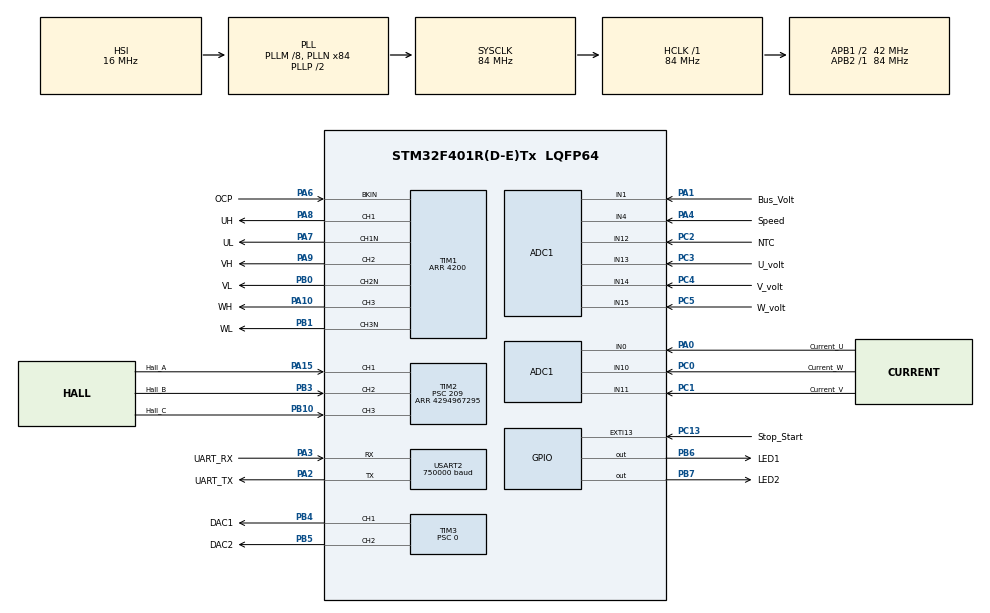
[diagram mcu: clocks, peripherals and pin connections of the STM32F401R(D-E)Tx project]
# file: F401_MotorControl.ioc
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ADC1.Channel-0\#ChannelRegularConversion=ADC_CHANNEL_1
ADC1.Channel-1\#ChannelInjectedConversion=ADC_CHANNEL_0
ADC1.Channel-2\#ChannelInjectedConversion=ADC_CHANNEL_11
ADC1.Channel-3\#ChannelInjectedConversion=ADC_CHANNEL_10
ADC1.Channel-4\#ChannelRegularConversion=ADC_CHANNEL_4
ADC1.Channel-5\#ChannelRegularConversion=ADC_CHANNEL_12
ADC1.Channel-6\#ChannelRegularConversion=ADC_CHANNEL_13
ADC1.Channel-7\#ChannelRegularConversion=ADC_CHANNEL_14
ADC1.Channel-8\#ChannelRegularConversion=ADC_CHANNEL_15
ADC1.ContinuousConvMode=DISABLE
ADC1.DMAContinuousRequests=ENABLE
ADC1.DataAlign=ADC_DATAALIGN_RIGHT
ADC1.DiscontinuousConvMode=DISABLE
ADC1.EOCSelection=ADC_EOC_SEQ_CONV
ADC1.ExternalTrigConv=ADC_EXTERNALTRIGCONV_T4_CC4
ADC1.ExternalTrigInjecConv=ADC_INJECTED_SOFTWARE_START
ADC1.InjNumberOfConversion=3
ADC1.InjectedConvMode=AutoInjected
ADC1.InjectedOffset-1\#ChannelInjectedConversion=0
ADC1.InjectedOffset-2\#ChannelInjectedConversion=0
ADC1.InjectedOffset-3\#ChannelInjectedConversion=0
ADC1.InjectedRank-1\#ChannelInjectedConversion=1
ADC1.InjectedRank-2\#ChannelInjectedConversion=2
ADC1.InjectedRank-3\#ChannelInjectedConversion=3
ADC1.NbrOfConversion=6
ADC1.NbrOfConversionFlag=1
ADC1.Rank-0\#ChannelRegularConversion=1
ADC1.Rank-4\#ChannelRegularConversion=2
ADC1.Rank-5\#ChannelRegularConversion=3
ADC1.Rank-6\#ChannelRegularConversion=4
ADC1.Rank-7\#ChannelRegularConversion=5
ADC1.Rank-8\#ChannelRegularConversion=6
ADC1.SamplingTime-0\#ChannelRegularConversion=ADC_SAMPLETIME_3CYCLES
ADC1.SamplingTime-1\#ChannelInjectedConversion=ADC_SAMPLETIME_3CYCLES
ADC1.SamplingTime-2\#ChannelInjectedConversion=ADC_SAMPLETIME_3CYCLES
ADC1.SamplingTime-3\#ChannelInjectedConversion=ADC_SAMPLETIME_3CYCLES
ADC1.SamplingTime-4\#ChannelRegularConversion=ADC_SAMPLETIME_3CYCLES
ADC1.SamplingTime-5\#ChannelRegularConversion=ADC_SAMPLETIME_3CYCLES
ADC1.SamplingTime-6\#ChannelRegularConversion=ADC_SAMPLETIME_3CYCLES
ADC1.SamplingTime-7\#ChannelRegularConversion=ADC_SAMPLETIME_3CYCLES
ADC1.SamplingTime-8\#ChannelRegularConversion=ADC_SAMPLETIME_3CYCLES
ADC1.ScanConvMode=ENABLE
ADC1.master=1
Dma.ADC1.0.Direction=DMA_PERIPH_TO_MEMORY
Dma.ADC1.0.FIFOMode=DMA_FIFOMODE_DISABLE
Dma.ADC1.0.Instance=DMA2_Stream0
Dma.ADC1.0.MemDataAlignment=DMA_MDATAALIGN_WORD
Dma.ADC1.0.MemInc=DMA_MINC_ENABLE
Dma.ADC1.0.Mode=DMA_CIRCULAR
Dma.ADC1.0.PeriphDataAlignment=DMA_PDATAALIGN_WORD
Dma.ADC1.0.PeriphInc=DMA_PINC_DISABLE
Dma.ADC1.0.Priority=DMA_PRIORITY_LOW
Dma.Request0=ADC1
Dma.Request1=USART2_TX
Dma.Request2=USART2_RX
Dma.USART2_RX.2.Direction=DMA_PERIPH_TO_MEMORY
Dma.USART2_RX.2.FIFOMode=DMA_FIFOMODE_DISABLE
Dma.USART2_RX.2.Instance=DMA1_Stream5
Dma.USART2_RX.2.MemDataAlignment=DMA_MDATAALIGN_BYTE
Dma.USART2_RX.2.MemInc=DMA_MINC_ENABLE
Dma.USART2_RX.2.Mode=DMA_NORMAL
Dma.USART2_RX.2.PeriphDataAlignment=DMA_PDATAALIGN_BYTE
Dma.USART2_RX.2.PeriphInc=DMA_PINC_DISABLE
Dma.USART2_RX.2.Priority=DMA_PRIORITY_LOW
Dma.USART2_TX.1.Direction=DMA_MEMORY_TO_PERIPH
Dma.USART2_TX.1.FIFOMode=DMA_FIFOMODE_DISABLE
Dma.USART2_TX.1.Instance=DMA1_Stream6
Dma.USART2_TX.1.MemDataAlignment=DMA_MDATAALIGN_BYTE
Dma.USART2_TX.1.MemInc=DMA_MINC_ENABLE
Dma.USART2_TX.1.Mode=DMA_NORMAL
Dma.USART2_TX.1.PeriphDataAlignment=DMA_PDATAALIGN_BYTE
Dma.USART2_TX.1.PeriphInc=DMA_PINC_DISABLE
Dma.USART2_TX.1.Priority=DMA_PRIORITY_LOW
Mcu.Family=STM32F4
Mcu.Name=STM32F401R(D-E)Tx
Mcu.Package=LQFP64
NVIC.ADC_IRQn=true\:2\:0\:true\:false\:true\:true\:true
NVIC.DMA1_Stream5_IRQn=true\:0\:0\:false\:false\:true\:false\:true
NVIC.DMA1_Stream6_IRQn=true\:5\:0\:true\:false\:true\:false\:true
NVIC.DMA2_Stream0_IRQn=true\:0\:0\:false\:false\:true\:false\:true
NVIC.EXTI15_10_IRQn=true\:3\:0\:true\:false\:true\:true\:true
NVIC.PriorityGroup=NVIC_PRIORITYGROUP_3
NVIC.TIM1_BRK_TIM9_IRQn=true\:0\:1\:true\:false\:true\:true\:true
NVIC.TIM1_UP_TIM10_IRQn=true\:0\:0\:false\:false\:true\:true\:true
NVIC.TIM2_IRQn=true\:3\:0\:true\:false\:true\:true\:true
NVIC.TIM3_IRQn=true\:5\:0\:true\:false\:true\:true\:true
NVIC.TIM5_IRQn=true\:7\:0\:true\:false\:true\:true\:true
NVIC.USART2_IRQn=true\:6\:1\:true\:false\:true\:true\:true
PA0-WKUP.GPIO_Label=Current_U
PA0-WKUP.Signal=ADCx_IN0
PA1.GPIO_Label=Bus_Volt
PA1.Signal=ADCx_IN1
PA10.GPIO_Label=WH
PA10.GPIO_ModeDefaultPP=GPIO_MODE_AF_PP
PA10.GPIO_PuPd=GPIO_PULLDOWN
PA10.GPIO_Speed=GPIO_SPEED_FREQ_HIGH
PA10.Signal=S_TIM1_CH3
PA15.GPIO_Label=Hall_A
PA15.Signal=S_TIM2_CH1_ETR
PA2.GPIO_Label=UART_TX
PA2.Mode=Asynchronous
PA2.Signal=USART2_TX
PA3.GPIO_Label=UART_RX
PA3.Mode=Asynchronous
PA3.Signal=USART2_RX
PA4.GPIO_Label=Speed
PA4.Signal=ADCx_IN4
PA6.GPIO_Label=OCP
PA6.GPIO_Mode=GPIO_MODE_AF_PP
PA6.GPIO_PuPd=GPIO_PULLUP
PA6.Mode=Activate-Break-Input
PA6.Signal=TIM1_BKIN
PA7.GPIO_Label=UL
PA7.GPIO_ModeDefaultPP=GPIO_MODE_AF_PP
PA7.GPIO_PuPd=GPIO_PULLDOWN
PA7.GPIO_Speed=GPIO_SPEED_FREQ_HIGH
PA7.Mode=PWM Generation1 CH1 CH1N
PA7.Signal=TIM1_CH1N
PA8.GPIO_Label=UH
PA8.GPIO_ModeDefaultPP=GPIO_MODE_AF_PP
PA8.GPIO_PuPd=GPIO_PULLDOWN
PA8.GPIO_Speed=GPIO_SPEED_FREQ_HIGH
PA8.Signal=S_TIM1_CH1
PA9.GPIO_Label=VH
PA9.GPIO_ModeDefaultPP=GPIO_MODE_AF_PP
PA9.GPIO_PuPd=GPIO_PULLDOWN
PA9.GPIO_Speed=GPIO_SPEED_FREQ_HIGH
PA9.Signal=S_TIM1_CH2
PB0.GPIO_Label=VL
PB0.GPIO_ModeDefaultPP=GPIO_MODE_AF_PP
PB0.GPIO_PuPd=GPIO_PULLDOWN
PB0.GPIO_Speed=GPIO_SPEED_FREQ_HIGH
PB0.Mode=PWM Generation2 CH2 CH2N
PB0.Signal=TIM1_CH2N
PB1.GPIO_Label=WL
PB1.GPIO_ModeDefaultPP=GPIO_MODE_AF_PP
PB1.GPIO_PuPd=GPIO_PULLDOWN
PB1.GPIO_Speed=GPIO_SPEED_FREQ_HIGH
PB1.Mode=PWM Generation3 CH3 CH3N
PB1.Signal=TIM1_CH3N
PB10.GPIO_Label=Hall_C
PB10.Signal=S_TIM2_CH3
PB3.GPIO_Label=Hall_B
PB3.Signal=S_TIM2_CH2
PB4.GPIO_Label=DAC1
PB4.Signal=S_TIM3_CH1
PB5.GPIO_Label=DAC2
PB5.Signal=S_TIM3_CH2
PB6.GPIO_Label=LED1
PB6.PinState=GPIO_PIN_SET
PB6.Signal=GPIO_Output
PB7.GPIO_Label=LED2
PB7.PinState=GPIO_PIN_SET
PB7.Signal=GPIO_Output
PC0.GPIO_Label=Current_W
PC0.Signal=ADCx_IN10
PC1.GPIO_Label=Current_V
PC1.Signal=ADCx_IN11
PC13-ANTI_TAMP.GPIO_Label=Stop_Start
PC13-ANTI_TAMP.GPIO_ModeDefaultEXTI=GPIO_MODE_IT_FALLING
PC13-ANTI_TAMP.Signal=GPXTI13
PC2.GPIO_Label=NTC
PC2.Signal=ADCx_IN12
PC3.GPIO_Label=U_volt
PC3.Signal=ADCx_IN13
PC4.GPIO_Label=V_volt
PC4.Signal=ADCx_IN14
PC5.GPIO_Label=W_volt
PC5.Signal=ADCx_IN15
PH0\ -\ OSC_IN.Mode=HSE-External-Oscillator
PH0\ -\ OSC_IN.Signal=RCC_OSC_IN
PH1\ -\ OSC_OUT.Mode=HSE-External-Oscillator
PH1\ -\ OSC_OUT.Signal=RCC_OSC_OUT
ProjectManager.HeapSize=0x200
ProjectManager.StackSize=0x400
ProjectManager.TargetToolchain=MDK-ARM V5
RCC.48MHZClocksFreq_Value=42000000
RCC.AHBFreq_Value=84000000
RCC.APB1CLKDivider=RCC_HCLK_DIV2
RCC.APB1Freq_Value=42000000
RCC.APB1TimFreq_Value=84000000
RCC.APB2Freq_Value=84000000
RCC.APB2TimFreq_Value=84000000
RCC.CortexFreq_Value=84000000
RCC.HCLKFreq_Value=84000000
RCC.HSE_VALUE=8000000
RCC.HSI_VALUE=16000000
RCC.LSE_VALUE=32768
RCC.PLLM=8
RCC.PLLN=84
RCC.SYSCLKFreq_VALUE=84000000
RCC.SYSCLKSource=RCC_SYSCLKSOURCE_PLLCLK
RCC.VCOOutputFreq_Value=168000000
SH.ADCx_IN0.0=ADC1_IN0,IN0
SH.ADCx_IN1.0=ADC1_IN1,IN1
SH.ADCx_IN10.0=ADC1_IN10,IN10
SH.ADCx_IN11.0=ADC1_IN11,IN11
SH.ADCx_IN12.0=ADC1_IN12,IN12
SH.ADCx_IN13.0=ADC1_IN13,IN13
SH.ADCx_IN14.0=ADC1_IN14,IN14
SH.ADCx_IN15.0=ADC1_IN15,IN15
SH.ADCx_IN4.0=ADC1_IN4,IN4
SH.S_TIM1_CH1.0=TIM1_CH1,PWM Generation1 CH1 CH1N
SH.S_TIM1_CH2.0=TIM1_CH2,PWM Generation2 CH2 CH2N
SH.S_TIM1_CH3.0=TIM1_CH3,PWM Generation3 CH3 CH3N
SH.S_TIM2_CH1_ETR.0=TIM2_CH1,Xored_Inputs_Hall_Sensor_Interface
SH.S_TIM2_CH2.0=TIM2_CH2,Xored_Inputs_Hall_Sensor_Interface
SH.S_TIM2_CH3.0=TIM2_CH3,Xored_Inputs_Hall_Sensor_Interface
SH.S_TIM3_CH1.0=TIM3_CH1,PWM Generation1 CH1
SH.S_TIM3_CH2.0=TIM3_CH2,PWM Generation2 CH2
TIM1.AutoReloadPreload=TIM_AUTORELOAD_PRELOAD_DISABLE
TIM1.BreakPolarity=TIM_BREAKPOLARITY_LOW
TIM1.BreakState=TIM_BREAK_ENABLE
TIM1.Channel-PWM\ Generation1\ CH1\ CH1N=TIM_CHANNEL_1
TIM1.Channel-PWM\ Generation2\ CH2\ CH2N=TIM_CHANNEL_2
TIM1.Channel-PWM\ Generation3\ CH3\ CH3N=TIM_CHANNEL_3
TIM1.Channel-PWM\ Generation4\ No\ Output=TIM_CHANNEL_4
TIM1.ClockDivision=TIM_CLOCKDIVISION_DIV1
TIM1.CounterMode=TIM_COUNTERMODE_CENTERALIGNED1
TIM1.DeadTime=34
TIM1.LockLevel=TIM_LOCKLEVEL_1
TIM1.OCMode_PWM-PWM\ Generation4\ No\ Output=TIM_OCMODE_PWM2
TIM1.OffStateIDLEMode=TIM_OSSI_ENABLE
TIM1.OffStateRunMode=TIM_OSSR_ENABLE
TIM1.Period=4200
TIM1.Pulse-PWM\ Generation4\ No\ Output=4200-1
TIM1.RepetitionCounter=1
TIM1.TIM_MasterOutputTrigger=TIM_TRGO_OC4REF
TIM1.TIM_MasterSlaveMode=TIM_MASTERSLAVEMODE_ENABLE
TIM2.AutoReloadPreload=TIM_AUTORELOAD_PRELOAD_DISABLE
TIM2.ClockDivision=TIM_CLOCKDIVISION_DIV4
TIM2.CounterMode=TIM_COUNTERMODE_UP
TIM2.Period=4294967295
TIM2.Prescaler=209
TIM2.TIM_MasterOutputTrigger=TIM_TRGO_OC2REF
TIM3.Channel-PWM\ Generation1\ CH1=TIM_CHANNEL_1
TIM3.Channel-PWM\ Generation2\ CH2=TIM_CHANNEL_2
TIM3.CounterMode=TIM_COUNTERMODE_CENTERALIGNED1
TIM3.Period=2100
TIM3.Prescaler=0
TIM3.Pulse-PWM\ Generation1\ CH1=0x200
TIM3.Pulse-PWM\ Generation2\ CH2=0x200
TIM3.TIM_MasterSlaveMode=TIM_MASTERSLAVEMODE_DISABLE
TIM4.Channel-PWM\ Generation4\ No\ Output=TIM_CHANNEL_4
TIM4.CounterMode=TIM_COUNTERMODE_CENTERALIGNED1
TIM4.OCMode_PWM-PWM\ Generation4\ No\ Output=TIM_OCMODE_PWM2
TIM4.Period=4200
TIM4.Pulse-PWM\ Generation4\ No\ Output=1
TIM4.TIM_MasterOutputTrigger=TIM_TRGO_OC4REF
TIM4.TIM_MasterSlaveMode=TIM_MASTERSLAVEMODE_ENABLE
TIM5.Channel-Output\ Compare1\ No\ Output=TIM_CHANNEL_1
TIM5.ClockDivision=TIM_CLOCKDIVISION_DIV4
TIM5.OC1Preload=ENABLE
TIM5.Period=4294967295
TIM5.Prescaler=209
TIM5.Pulse-Output\ Compare1\ No\ Output=0
USART2.BaudRate=750000
USART2.VirtualMode=VM_ASYNC
VP_CRC_VS_CRC.Mode=CRC_Activate
VP_TIM1_VS_ClockSourceINT.Mode=Internal
VP_TIM1_VS_ClockSourceITR.Mode=TriggerSource_ITR0
VP_TIM1_VS_ControllerModeTrigger.Mode=Trigger Mode
VP_TIM1_VS_no_output4.Mode=PWM Generation4 No Output
VP_TIM2_VS_ClockSourceINT.Mode=Internal
VP_TIM3_VS_ClockSourceINT.Mode=Internal
VP_TIM4_VS_ClockSourceINT.Mode=Internal
VP_TIM4_VS_ClockSourceITR.Mode=TriggerSource_ITR0
VP_TIM4_VS_ControllerModeReset.Mode=Reset Mode
VP_TIM4_VS_no_output4.Mode=PWM Generation4 No Output
VP_TIM5_VS_ClockSourceINT.Mode=Internal
VP_TIM5_VS_no_output1.Mode=Output Compare1 No Output
board=custom

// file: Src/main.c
/* USER CODE BEGIN Header */
/**
  ******************************************************************************
  * @file           : main.c
  * @brief          : Main program body
  ******************************************************************************
  * @attention
  *
  * <h2><center>&copy; Copyright (c) 2021 STMicroelectronics.
  * All rights reserved.</center></h2>
  *
  * This software component is licensed by ST under BSD 3-Clause license,
  * the "License"; You may not use this file except in compliance with the
  * License. You may obtain a copy of the License at:
  *                        opensource.org/licenses/BSD-3-Clause
  *
  ******************************************************************************
  */
/* USER CODE END Header */
#include "main.h"

ADC_HandleTypeDef hadc1;
DMA_HandleTypeDef hdma_adc1;

CRC_HandleTypeDef hcrc;

TIM_HandleTypeDef htim1;
TIM_HandleTypeDef htim2;
TIM_HandleTypeDef htim3;
TIM_HandleTypeDef htim4;
TIM_HandleTypeDef htim5;

UART_HandleTypeDef huart2;
DMA_HandleTypeDef hdma_usart2_tx;
DMA_HandleTypeDef hdma_usart2_rx;

/* USER CODE BEGIN PV */
uint8_t aRxBuffer[100];
/* USER CODE END PV */

void SystemClock_Config(void);
static void MX_GPIO_Init(void);
static void MX_DMA_Init(void);
static void MX_ADC1_Init(void);
static void MX_USART2_UART_Init(void);
static void MX_TIM1_Init(void);
static void MX_TIM3_Init(void);
static void MX_TIM2_Init(void);
static void MX_TIM4_Init(void);
static void MX_TIM5_Init(void);
static void MX_CRC_Init(void);

/* USER CODE BEGIN 0 */
#include <stddef.h>
#include <stdio.h>              /* This ert_main.c example uses printf/fflush */
#include "Motor_Control.h"             /* Model's header file */
#include "rtwtypes.h"

/* Flags for taskOverrun */
//static boolean_T OverrunFlags[1] = { false, };

/* Number of auto reload timer rotation computed */
static volatile uint32_t autoReloadTimerLoopVal_S = 1;

/* Remaining number of auto reload timer rotation to do */
volatile uint32_t remainAutoReloadTimerLoopVal_S = 1;

uint32_t ADC_Value[6];
int16_t Task_10ms;
int16_t Task_100ms;
int16_t Task_2ms;
float Bus_volt_V,Ia_A,Ib_A,Ic_A;
float Tempreture,U_voltage,V_voltage,W_voltage,Speed_In;
float Debug_SetSpeed;
uint8_t EnDisable_flag;
/* USER CODE END 0 */

int main(void)
{

  /* MCU Configuration--------------------------------------------------------*/

  /* Reset of all peripherals, Initializes the Flash interface and the Systick. */
  HAL_Init();

  /* Configure the system clock */
  SystemClock_Config();

  /* Initialize all configured peripherals */
  MX_GPIO_Init();
  MX_DMA_Init();
  MX_ADC1_Init();
  MX_USART2_UART_Init();
  MX_TIM1_Init();
  MX_TIM3_Init();
  MX_TIM2_Init();
  MX_TIM4_Init();
  MX_TIM5_Init();
  MX_CRC_Init();
  /* USER CODE BEGIN 2 */
	//ADC
	//HAL_ADC_Start_IT(&hadc1);
	HAL_ADC_Start_DMA(&hadc1, (uint32_t*)&ADC_Value, 6);

   /* Start interrupt conversion for ADC1 injected channel. */
	 HAL_ADCEx_InjectedStart(&hadc1);
   HAL_ADCEx_InjectedStart_IT(&hadc1);

	 //Time1 PWM
 /* Wait for htim1 State READY. */
      while ((&htim1)->State == HAL_TIM_STATE_BUSY) {
      }

      HAL_TIM_PWM_Start(&htim1,TIM_CHANNEL_1);

      /* Enable the complementary PWM output 1. */
      HAL_TIMEx_PWMN_Start(&htim1,TIM_CHANNEL_1);

      /* Wait for htim1 State READY. */
      while ((&htim1)->State == HAL_TIM_STATE_BUSY) {
      }

      HAL_TIM_PWM_Start(&htim1,TIM_CHANNEL_2);

      /* Enable the complementary PWM output 2. */
      HAL_TIMEx_PWMN_Start(&htim1,TIM_CHANNEL_2);

      /* Wait for htim1 State READY. */
      while ((&htim1)->State == HAL_TIM_STATE_BUSY) {
      }

      HAL_TIM_PWM_Start(&htim1,TIM_CHANNEL_3);

      /* Enable the complementary PWM output 3. */
      HAL_TIMEx_PWMN_Start(&htim1,TIM_CHANNEL_3);

      /* Start interrupt for Update event*/
      HAL_TIM_Base_Start_IT(&htim1);
      /* Start interrupt for Update event*/
			 __HAL_TIM_ENABLE(&htim1);
     // HAL_TIM_Base_Start_IT(&htim1);

			//Tmie2
			 HAL_TIMEx_PWMN_Start(&htim2,TIM_CHANNEL_1);
				 __HAL_TIM_ENABLE(&htim2);
			 HAL_TIMEx_HallSensor_Start_IT(&htim2);
			HAL_TIMEx_HallSensor_Start(&htim2);

			//Time4
				HAL_TIMEx_PWMN_Start(&htim4,TIM_CHANNEL_4);
			  HAL_TIM_PWM_Start(&htim4,TIM_CHANNEL_4);
				 __HAL_TIM_ENABLE(&htim4);

						//Time5
				HAL_TIMEx_PWMN_Start(&htim5,TIM_CHANNEL_1);
			  HAL_TIM_PWM_Start(&htim5,TIM_CHANNEL_1);
				 __HAL_TIM_ENABLE(&htim5);
				 HAL_TIM_Base_Start_IT(&htim5);
			 //Time3 DAC

			  /* Wait for htim1 State READY. */
      while ((&htim3)->State == HAL_TIM_STATE_BUSY) {
      }

      HAL_TIM_PWM_Start(&htim3,TIM_CHANNEL_1);

      /* Enable the complementary PWM output 1. */
      HAL_TIMEx_PWMN_Start(&htim3,TIM_CHANNEL_1);

      /* Wait for htim1 State READY. */
      while ((&htim1)->State == HAL_TIM_STATE_BUSY) {
      }

      HAL_TIM_PWM_Start(&htim3,TIM_CHANNEL_2);

      /* Enable the complementary PWM output 2. */
      HAL_TIMEx_PWMN_Start(&htim3,TIM_CHANNEL_2);
			HAL_TIM_Base_Start_IT(&htim3);

			//UART
				HAL_UART_Receive_DMA( &huart2, aRxBuffer, 3*4+2);
	__HAL_UART_ENABLE_IT( &huart2, UART_IT_IDLE);
	//__HAL_UART_CLEAR_IT( &huart2, UART_CLEAR_IDLEF);
	__HAL_UART_DISABLE_IT( &huart2, UART_IT_TC);
//	__HAL_UART_CLEAR_IT( &huart2, UART_CLEAR_TCF);

  /* Use Systick arm timer and interrupt to tick step() functions of the Simulink model. */
  /* Fundamental sample time is set to: '0.001000000' s */
  if (SysTick_Config((uint32_t)(SystemCoreClock/1000.0))) {
    autoReloadTimerLoopVal_S = 1;
    do {
      autoReloadTimerLoopVal_S++;
    } while ((uint32_t)(SystemCoreClock/1000.0)/autoReloadTimerLoopVal_S >
             SysTick_LOAD_RELOAD_Msk);

    SysTick_Config((uint32_t)(SystemCoreClock/1000.0)/autoReloadTimerLoopVal_S);
  }

  /* Set number of loop to do. */

  /* Initialize model */
   Motor_Control_initialize();

  /* USER CODE END 2 */

  /* Infinite loop */
  /* USER CODE BEGIN WHILE */
  /* Infinite loop */
  /* Real time from systickHandler */
  while (1) {
    /*Process tasks every solver time*/
    if (remainAutoReloadTimerLoopVal_S == 0) {
      remainAutoReloadTimerLoopVal_S = autoReloadTimerLoopVal_S;

      /* Check base rate for overrun */

      /* Step the model for base rate */
    //  MotorControl_step();

      /* Get model outputs here */

      /* Indicate task for base rate complete */

    }
  }

    /* USER CODE END WHILE */

}

void SystemClock_Config(void)
{
  RCC_OscInitTypeDef RCC_OscInitStruct = {0};
  RCC_ClkInitTypeDef RCC_ClkInitStruct = {0};

  /** Configure the main internal regulator output voltage
  */
  __HAL_RCC_PWR_CLK_ENABLE();
  __HAL_PWR_VOLTAGESCALING_CONFIG(PWR_REGULATOR_VOLTAGE_SCALE2);
  /** Initializes the RCC Oscillators according to the specified parameters
  * in the RCC_OscInitTypeDef structure.
  */
  RCC_OscInitStruct.OscillatorType = RCC_OSCILLATORTYPE_HSI;
  RCC_OscInitStruct.HSIState = RCC_HSI_ON;
  RCC_OscInitStruct.HSICalibrationValue = RCC_HSICALIBRATION_DEFAULT;
  RCC_OscInitStruct.PLL.PLLState = RCC_PLL_ON;
  RCC_OscInitStruct.PLL.PLLSource = RCC_PLLSOURCE_HSI;
  RCC_OscInitStruct.PLL.PLLM = 8;
  RCC_OscInitStruct.PLL.PLLN = 84;
  RCC_OscInitStruct.PLL.PLLP = RCC_PLLP_DIV2;
  RCC_OscInitStruct.PLL.PLLQ = 4;
  if (HAL_RCC_OscConfig(&RCC_OscInitStruct) != HAL_OK)
  {
    Error_Handler();
  }
  /** Initializes the CPU, AHB and APB buses clocks
  */
  RCC_ClkInitStruct.ClockType = RCC_CLOCKTYPE_HCLK|RCC_CLOCKTYPE_SYSCLK
                              |RCC_CLOCKTYPE_PCLK1|RCC_CLOCKTYPE_PCLK2;
  RCC_ClkInitStruct.SYSCLKSource = RCC_SYSCLKSOURCE_PLLCLK;
  RCC_ClkInitStruct.AHBCLKDivider = RCC_SYSCLK_DIV1;
  RCC_ClkInitStruct.APB1CLKDivider = RCC_HCLK_DIV2;
  RCC_ClkInitStruct.APB2CLKDivider = RCC_HCLK_DIV1;

  if (HAL_RCC_ClockConfig(&RCC_ClkInitStruct, FLASH_LATENCY_2) != HAL_OK)
  {
    Error_Handler();
  }
}

static void MX_ADC1_Init(void)
{

  ADC_ChannelConfTypeDef sConfig = {0};
  ADC_InjectionConfTypeDef sConfigInjected = {0};

  /** Configure the global features of the ADC (Clock, Resolution, Data Alignment and number of conversion)
  */
  hadc1.Instance = ADC1;
  hadc1.Init.ClockPrescaler = ADC_CLOCK_SYNC_PCLK_DIV4;
  hadc1.Init.Resolution = ADC_RESOLUTION_12B;
  hadc1.Init.ScanConvMode = ENABLE;
  hadc1.Init.ContinuousConvMode = DISABLE;
  hadc1.Init.DiscontinuousConvMode = DISABLE;
  hadc1.Init.ExternalTrigConvEdge = ADC_EXTERNALTRIGCONVEDGE_RISING;
  hadc1.Init.ExternalTrigConv = ADC_EXTERNALTRIGCONV_T4_CC4;
  hadc1.Init.DataAlign = ADC_DATAALIGN_RIGHT;
  hadc1.Init.NbrOfConversion = 6;
  hadc1.Init.DMAContinuousRequests = ENABLE;
  hadc1.Init.EOCSelection = ADC_EOC_SEQ_CONV;
  if (HAL_ADC_Init(&hadc1) != HAL_OK)
  {
    Error_Handler();
  }
  /** Configure for the selected ADC regular channel its corresponding rank in the sequencer and its sample time.
  */
  sConfig.Channel = ADC_CHANNEL_1;
  sConfig.Rank = 1;
  sConfig.SamplingTime = ADC_SAMPLETIME_3CYCLES;
  if (HAL_ADC_ConfigChannel(&hadc1, &sConfig) != HAL_OK)
  {
    Error_Handler();
  }
  /** Configure for the selected ADC regular channel its corresponding rank in the sequencer and its sample time.
  */
  sConfig.Channel = ADC_CHANNEL_4;
  sConfig.Rank = 2;
  if (HAL_ADC_ConfigChannel(&hadc1, &sConfig) != HAL_OK)
  {
    Error_Handler();
  }
  /** Configure for the selected ADC regular channel its corresponding rank in the sequencer and its sample time.
  */
  sConfig.Channel = ADC_CHANNEL_12;
  sConfig.Rank = 3;
  if (HAL_ADC_ConfigChannel(&hadc1, &sConfig) != HAL_OK)
  {
    Error_Handler();
  }
  /** Configure for the selected ADC regular channel its corresponding rank in the sequencer and its sample time.
  */
  sConfig.Channel = ADC_CHANNEL_13;
  sConfig.Rank = 4;
  if (HAL_ADC_ConfigChannel(&hadc1, &sConfig) != HAL_OK)
  {
    Error_Handler();
  }
  /** Configure for the selected ADC regular channel its corresponding rank in the sequencer and its sample time.
  */
  sConfig.Channel = ADC_CHANNEL_14;
  sConfig.Rank = 5;
  if (HAL_ADC_ConfigChannel(&hadc1, &sConfig) != HAL_OK)
  {
    Error_Handler();
  }
  /** Configure for the selected ADC regular channel its corresponding rank in the sequencer and its sample time.
  */
  sConfig.Channel = ADC_CHANNEL_15;
  sConfig.Rank = 6;
  if (HAL_ADC_ConfigChannel(&hadc1, &sConfig) != HAL_OK)
  {
    Error_Handler();
  }
  /** Configures for the selected ADC injected channel its corresponding rank in the sequencer and its sample time
  */
  sConfigInjected.InjectedChannel = ADC_CHANNEL_0;
  sConfigInjected.InjectedRank = 1;
  sConfigInjected.InjectedNbrOfConversion = 3;
  sConfigInjected.InjectedSamplingTime = ADC_SAMPLETIME_3CYCLES;
  sConfigInjected.ExternalTrigInjecConvEdge = ADC_EXTERNALTRIGINJECCONVEDGE_NONE;
  sConfigInjected.ExternalTrigInjecConv = ADC_INJECTED_SOFTWARE_START;
  sConfigInjected.AutoInjectedConv = ENABLE;
  sConfigInjected.InjectedDiscontinuousConvMode = DISABLE;
  sConfigInjected.InjectedOffset = 0;
  if (HAL_ADCEx_InjectedConfigChannel(&hadc1, &sConfigInjected) != HAL_OK)
  {
    Error_Handler();
  }
  /** Configures for the selected ADC injected channel its corresponding rank in the sequencer and its sample time
  */
  sConfigInjected.InjectedChannel = ADC_CHANNEL_11;
  sConfigInjected.InjectedRank = 2;
  if (HAL_ADCEx_InjectedConfigChannel(&hadc1, &sConfigInjected) != HAL_OK)
  {
    Error_Handler();
  }
  /** Configures for the selected ADC injected channel its corresponding rank in the sequencer and its sample time
  */
  sConfigInjected.InjectedChannel = ADC_CHANNEL_10;
  sConfigInjected.InjectedRank = 3;
  if (HAL_ADCEx_InjectedConfigChannel(&hadc1, &sConfigInjected) != HAL_OK)
  {
    Error_Handler();
  }

}

static void MX_CRC_Init(void)
{

  hcrc.Instance = CRC;
  if (HAL_CRC_Init(&hcrc) != HAL_OK)
  {
    Error_Handler();
  }

}

static void MX_TIM1_Init(void)
{

  TIM_ClockConfigTypeDef sClockSourceConfig = {0};
  TIM_SlaveConfigTypeDef sSlaveConfig = {0};
  TIM_MasterConfigTypeDef sMasterConfig = {0};
  TIM_OC_InitTypeDef sConfigOC = {0};
  TIM_BreakDeadTimeConfigTypeDef sBreakDeadTimeConfig = {0};

  htim1.Instance = TIM1;
  htim1.Init.Prescaler = 0;
  htim1.Init.CounterMode = TIM_COUNTERMODE_CENTERALIGNED1;
  htim1.Init.Period = 4200;
  htim1.Init.ClockDivision = TIM_CLOCKDIVISION_DIV1;
  htim1.Init.RepetitionCounter = 1;
  htim1.Init.AutoReloadPreload = TIM_AUTORELOAD_PRELOAD_DISABLE;
  if (HAL_TIM_Base_Init(&htim1) != HAL_OK)
  {
    Error_Handler();
  }
  sClockSourceConfig.ClockSource = TIM_CLOCKSOURCE_INTERNAL;
  if (HAL_TIM_ConfigClockSource(&htim1, &sClockSourceConfig) != HAL_OK)
  {
    Error_Handler();
  }
  if (HAL_TIM_PWM_Init(&htim1) != HAL_OK)
  {
    Error_Handler();
  }
  sSlaveConfig.SlaveMode = TIM_SLAVEMODE_TRIGGER;
  sSlaveConfig.InputTrigger = TIM_TS_ITR0;
  if (HAL_TIM_SlaveConfigSynchro(&htim1, &sSlaveConfig) != HAL_OK)
  {
    Error_Handler();
  }
  sMasterConfig.MasterOutputTrigger = TIM_TRGO_OC4REF;
  sMasterConfig.MasterSlaveMode = TIM_MASTERSLAVEMODE_ENABLE;
  if (HAL_TIMEx_MasterConfigSynchronization(&htim1, &sMasterConfig) != HAL_OK)
  {
    Error_Handler();
  }
  sConfigOC.OCMode = TIM_OCMODE_PWM1;
  sConfigOC.Pulse = 0;
  sConfigOC.OCPolarity = TIM_OCPOLARITY_HIGH;
  sConfigOC.OCNPolarity = TIM_OCNPOLARITY_HIGH;
  sConfigOC.OCFastMode = TIM_OCFAST_DISABLE;
  sConfigOC.OCIdleState = TIM_OCIDLESTATE_RESET;
  sConfigOC.OCNIdleState = TIM_OCNIDLESTATE_RESET;
  if (HAL_TIM_PWM_ConfigChannel(&htim1, &sConfigOC, TIM_CHANNEL_1) != HAL_OK)
  {
    Error_Handler();
  }
  if (HAL_TIM_PWM_ConfigChannel(&htim1, &sConfigOC, TIM_CHANNEL_2) != HAL_OK)
  {
    Error_Handler();
  }
  if (HAL_TIM_PWM_ConfigChannel(&htim1, &sConfigOC, TIM_CHANNEL_3) != HAL_OK)
  {
    Error_Handler();
  }
  sConfigOC.OCMode = TIM_OCMODE_PWM2;
  sConfigOC.Pulse = 4200-1;
  if (HAL_TIM_PWM_ConfigChannel(&htim1, &sConfigOC, TIM_CHANNEL_4) != HAL_OK)
  {
    Error_Handler();
  }
  sBreakDeadTimeConfig.OffStateRunMode = TIM_OSSR_ENABLE;
  sBreakDeadTimeConfig.OffStateIDLEMode = TIM_OSSI_ENABLE;
  sBreakDeadTimeConfig.LockLevel = TIM_LOCKLEVEL_1;
  sBreakDeadTimeConfig.DeadTime = 34*3;
  sBreakDeadTimeConfig.BreakState = TIM_BREAK_ENABLE;
  sBreakDeadTimeConfig.BreakPolarity = TIM_BREAKPOLARITY_LOW;
  sBreakDeadTimeConfig.AutomaticOutput = TIM_AUTOMATICOUTPUT_DISABLE;
  if (HAL_TIMEx_ConfigBreakDeadTime(&htim1, &sBreakDeadTimeConfig) != HAL_OK)
  {
    Error_Handler();
  }
  HAL_TIM_MspPostInit(&htim1);

}

static void MX_TIM2_Init(void)
{

  TIM_ClockConfigTypeDef sClockSourceConfig = {0};
  TIM_HallSensor_InitTypeDef sConfig = {0};
  TIM_MasterConfigTypeDef sMasterConfig = {0};

  htim2.Instance = TIM2;
  htim2.Init.Prescaler = 209;
  htim2.Init.CounterMode = TIM_COUNTERMODE_UP;
  htim2.Init.Period = 4294967295;
  htim2.Init.ClockDivision = TIM_CLOCKDIVISION_DIV4;
  htim2.Init.AutoReloadPreload = TIM_AUTORELOAD_PRELOAD_DISABLE;
  if (HAL_TIM_Base_Init(&htim2) != HAL_OK)
  {
    Error_Handler();
  }
  sClockSourceConfig.ClockSource = TIM_CLOCKSOURCE_INTERNAL;
  if (HAL_TIM_ConfigClockSource(&htim2, &sClockSourceConfig) != HAL_OK)
  {
    Error_Handler();
  }
  sConfig.IC1Polarity = TIM_ICPOLARITY_RISING;
  sConfig.IC1Prescaler = TIM_ICPSC_DIV1;
  sConfig.IC1Filter = 0;
  sConfig.Commutation_Delay = 0;
  if (HAL_TIMEx_HallSensor_Init(&htim2, &sConfig) != HAL_OK)
  {
    Error_Handler();
  }
  sMasterConfig.MasterOutputTrigger = TIM_TRGO_OC2REF;
  sMasterConfig.MasterSlaveMode = TIM_MASTERSLAVEMODE_DISABLE;
  if (HAL_TIMEx_MasterConfigSynchronization(&htim2, &sMasterConfig) != HAL_OK)
  {
    Error_Handler();
  }

}

static void MX_TIM3_Init(void)
{

  TIM_ClockConfigTypeDef sClockSourceConfig = {0};
  TIM_MasterConfigTypeDef sMasterConfig = {0};
  TIM_OC_InitTypeDef sConfigOC = {0};

  htim3.Instance = TIM3;
  htim3.Init.Prescaler = 0;
  htim3.Init.CounterMode = TIM_COUNTERMODE_CENTERALIGNED1;
  htim3.Init.Period = 2100;
  htim3.Init.ClockDivision = TIM_CLOCKDIVISION_DIV1;
  htim3.Init.AutoReloadPreload = TIM_AUTORELOAD_PRELOAD_DISABLE;
  if (HAL_TIM_Base_Init(&htim3) != HAL_OK)
  {
    Error_Handler();
  }
  sClockSourceConfig.ClockSource = TIM_CLOCKSOURCE_INTERNAL;
  if (HAL_TIM_ConfigClockSource(&htim3, &sClockSourceConfig) != HAL_OK)
  {
    Error_Handler();
  }
  if (HAL_TIM_PWM_Init(&htim3) != HAL_OK)
  {
    Error_Handler();
  }
  sMasterConfig.MasterOutputTrigger = TIM_TRGO_RESET;
  sMasterConfig.MasterSlaveMode = TIM_MASTERSLAVEMODE_DISABLE;
  if (HAL_TIMEx_MasterConfigSynchronization(&htim3, &sMasterConfig) != HAL_OK)
  {
    Error_Handler();
  }
  sConfigOC.OCMode = TIM_OCMODE_PWM1;
  sConfigOC.Pulse = 0x200;
  sConfigOC.OCPolarity = TIM_OCPOLARITY_HIGH;
  sConfigOC.OCFastMode = TIM_OCFAST_DISABLE;
  if (HAL_TIM_PWM_ConfigChannel(&htim3, &sConfigOC, TIM_CHANNEL_1) != HAL_OK)
  {
    Error_Handler();
  }
  if (HAL_TIM_PWM_ConfigChannel(&htim3, &sConfigOC, TIM_CHANNEL_2) != HAL_OK)
  {
    Error_Handler();
  }
  HAL_TIM_MspPostInit(&htim3);

}

static void MX_TIM4_Init(void)
{

  TIM_ClockConfigTypeDef sClockSourceConfig = {0};
  TIM_SlaveConfigTypeDef sSlaveConfig = {0};
  TIM_MasterConfigTypeDef sMasterConfig = {0};
  TIM_OC_InitTypeDef sConfigOC = {0};

  htim4.Instance = TIM4;
  htim4.Init.Prescaler = 0;
  htim4.Init.CounterMode = TIM_COUNTERMODE_CENTERALIGNED1;
  htim4.Init.Period = 4200;
  htim4.Init.ClockDivision = TIM_CLOCKDIVISION_DIV1;
  htim4.Init.AutoReloadPreload = TIM_AUTORELOAD_PRELOAD_DISABLE;
  if (HAL_TIM_Base_Init(&htim4) != HAL_OK)
  {
    Error_Handler();
  }
  sClockSourceConfig.ClockSource = TIM_CLOCKSOURCE_INTERNAL;
  if (HAL_TIM_ConfigClockSource(&htim4, &sClockSourceConfig) != HAL_OK)
  {
    Error_Handler();
  }
  if (HAL_TIM_PWM_Init(&htim4) != HAL_OK)
  {
    Error_Handler();
  }
  sSlaveConfig.SlaveMode = TIM_SLAVEMODE_RESET;
  sSlaveConfig.InputTrigger = TIM_TS_ITR0;
  if (HAL_TIM_SlaveConfigSynchro(&htim4, &sSlaveConfig) != HAL_OK)
  {
    Error_Handler();
  }
  sMasterConfig.MasterOutputTrigger = TIM_TRGO_OC4REF;
  sMasterConfig.MasterSlaveMode = TIM_MASTERSLAVEMODE_ENABLE;
  if (HAL_TIMEx_MasterConfigSynchronization(&htim4, &sMasterConfig) != HAL_OK)
  {
    Error_Handler();
  }
  sConfigOC.OCMode = TIM_OCMODE_PWM2;
  sConfigOC.Pulse = 1;
  sConfigOC.OCPolarity = TIM_OCPOLARITY_HIGH;
  sConfigOC.OCFastMode = TIM_OCFAST_DISABLE;
  if (HAL_TIM_PWM_ConfigChannel(&htim4, &sConfigOC, TIM_CHANNEL_4) != HAL_OK)
  {
    Error_Handler();
  }

}

static void MX_TIM5_Init(void)
{

  TIM_ClockConfigTypeDef sClockSourceConfig = {0};
  TIM_MasterConfigTypeDef sMasterConfig = {0};
  TIM_OC_InitTypeDef sConfigOC = {0};

  htim5.Instance = TIM5;
  htim5.Init.Prescaler = 209;
  htim5.Init.CounterMode = TIM_COUNTERMODE_UP;
  htim5.Init.Period = 4294967295;
  htim5.Init.ClockDivision = TIM_CLOCKDIVISION_DIV4;
  htim5.Init.AutoReloadPreload = TIM_AUTORELOAD_PRELOAD_DISABLE;
  if (HAL_TIM_Base_Init(&htim5) != HAL_OK)
  {
    Error_Handler();
  }
  sClockSourceConfig.ClockSource = TIM_CLOCKSOURCE_INTERNAL;
  if (HAL_TIM_ConfigClockSource(&htim5, &sClockSourceConfig) != HAL_OK)
  {
    Error_Handler();
  }
  if (HAL_TIM_OC_Init(&htim5) != HAL_OK)
  {
    Error_Handler();
  }
  sMasterConfig.MasterOutputTrigger = TIM_TRGO_RESET;
  sMasterConfig.MasterSlaveMode = TIM_MASTERSLAVEMODE_DISABLE;
  if (HAL_TIMEx_MasterConfigSynchronization(&htim5, &sMasterConfig) != HAL_OK)
  {
    Error_Handler();
  }
  sConfigOC.OCMode = TIM_OCMODE_TIMING;
  sConfigOC.Pulse = 0;
  sConfigOC.OCPolarity = TIM_OCPOLARITY_HIGH;
  sConfigOC.OCFastMode = TIM_OCFAST_DISABLE;
  if (HAL_TIM_OC_ConfigChannel(&htim5, &sConfigOC, TIM_CHANNEL_1) != HAL_OK)
  {
    Error_Handler();
  }
  __HAL_TIM_ENABLE_OCxPRELOAD(&htim5, TIM_CHANNEL_1);

}

static void MX_USART2_UART_Init(void)
{

  huart2.Instance = USART2;
  huart2.Init.BaudRate = 750000;
  huart2.Init.WordLength = UART_WORDLENGTH_8B;
  huart2.Init.StopBits = UART_STOPBITS_1;
  huart2.Init.Parity = UART_PARITY_NONE;
  huart2.Init.Mode = UART_MODE_TX_RX;
  huart2.Init.HwFlowCtl = UART_HWCONTROL_NONE;
  huart2.Init.OverSampling = UART_OVERSAMPLING_16;
  if (HAL_UART_Init(&huart2) != HAL_OK)
  {
    Error_Handler();
  }

}

static void MX_DMA_Init(void)
{

  /* DMA controller clock enable */
  __HAL_RCC_DMA2_CLK_ENABLE();
  __HAL_RCC_DMA1_CLK_ENABLE();

  /* DMA interrupt init */
  /* DMA1_Stream5_IRQn interrupt configuration */
  HAL_NVIC_SetPriority(DMA1_Stream5_IRQn, 0, 0);
  HAL_NVIC_EnableIRQ(DMA1_Stream5_IRQn);
  /* DMA1_Stream6_IRQn interrupt configuration */
  HAL_NVIC_SetPriority(DMA1_Stream6_IRQn, 5, 0);
  HAL_NVIC_EnableIRQ(DMA1_Stream6_IRQn);
  /* DMA2_Stream0_IRQn interrupt configuration */
  HAL_NVIC_SetPriority(DMA2_Stream0_IRQn, 0, 0);
  HAL_NVIC_EnableIRQ(DMA2_Stream0_IRQn);

}

static void MX_GPIO_Init(void)
{
  GPIO_InitTypeDef GPIO_InitStruct = {0};

  /* GPIO Ports Clock Enable */
  __HAL_RCC_GPIOC_CLK_ENABLE();
  __HAL_RCC_GPIOH_CLK_ENABLE();
  __HAL_RCC_GPIOA_CLK_ENABLE();
  __HAL_RCC_GPIOB_CLK_ENABLE();

  /*Configure GPIO pin Output Level */
  HAL_GPIO_WritePin(GPIOB, LED1_Pin|LED2_Pin, GPIO_PIN_SET);

  /*Configure GPIO pin : Stop_Start_Pin */
  GPIO_InitStruct.Pin = Stop_Start_Pin;
  GPIO_InitStruct.Mode = GPIO_MODE_IT_FALLING;
  GPIO_InitStruct.Pull = GPIO_NOPULL;
  HAL_GPIO_Init(Stop_Start_GPIO_Port, &GPIO_InitStruct);

  /*Configure GPIO pins : LED1_Pin LED2_Pin */
  GPIO_InitStruct.Pin = LED1_Pin|LED2_Pin;
  GPIO_InitStruct.Mode = GPIO_MODE_OUTPUT_PP;
  GPIO_InitStruct.Pull = GPIO_NOPULL;
  GPIO_InitStruct.Speed = GPIO_SPEED_FREQ_LOW;
  HAL_GPIO_Init(GPIOB, &GPIO_InitStruct);

  /* EXTI interrupt init*/
  HAL_NVIC_SetPriority(EXTI15_10_IRQn, 3, 0);
  HAL_NVIC_EnableIRQ(EXTI15_10_IRQn);

}

void Error_Handler(void)
{
  __disable_irq();
  while (1)
  {
  }
}

/************************ (C) COPYRIGHT STMicroelectronics *****END OF FILE****/
